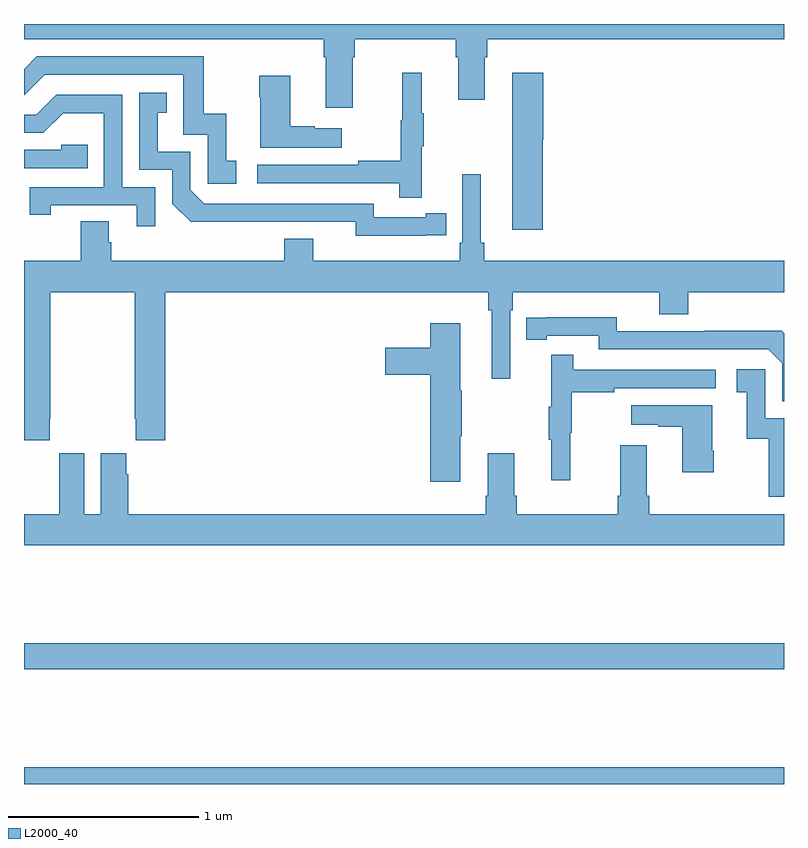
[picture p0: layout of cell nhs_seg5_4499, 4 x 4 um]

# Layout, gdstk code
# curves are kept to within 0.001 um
import gdstk
lib = gdstk.Library(unit=1e-6, precision=1e-09)
def R(c, l, rs):  # rectangles x0, y0, x1, y1
    for r in rs: c.add(gdstk.rectangle(r[:2], r[2:], *l))
def P(c, l, *ps):  # polygons
    for p in ps: c.add(gdstk.Polygon(p, *l))
L2000_40 = (2000, 40)

nhs_seg5_4499 = lib.new_cell('nhs_seg5_4499')
R(nhs_seg5_4499, L2000_40, [(375,892.799,379,892.888), (375,893.404,379,893.54)])
P(nhs_seg5_4499, L2000_40, [(376.729,896.624),(376.742,896.624),(376.742,896.72),(377.273,896.72),(377.273,896.624),(377.285,896.624),(377.285,896.4),(377.425,896.4),(377.425,896.624),(377.438,896.624),(377.438,896.72),(379,896.72),(379,896.799),(375,896.799),(375,896.72),(376.577,896.72),(376.577,896.624),(376.589,896.624),(376.589,896.358),(376.729,896.358)],
  [(376.117,896.079),(376.064,896.079),(376.064,896.326),(375.946,896.326),(375.946,896.628),(375.066,896.628),(375,896.562),(375,896.424),(375.108,896.532),(375.837,896.532),(375.837,896.217),(375.966,896.217),(375.966,895.959),(376.117,895.959)],
  [(377.729,896.19),(377.734,896.19),(377.734,896.542),(377.57,896.542),(377.57,895.716),(377.729,895.716)],
  [(377.093,896.155),(377.104,896.155),(377.104,896.329),(377.093,896.329),(377.093,896.542),(376.99,896.542),(376.99,896.292),(376.983,896.292),(376.983,896.078),(376.759,896.078),(376.759,896.058),(376.227,896.058),(376.227,895.962),(376.975,895.962),(376.975,895.884),(377.093,895.884)],
  [(376.672,896.251),(376.529,896.251),(376.529,896.261),(376.402,896.261),(376.402,896.527),(376.237,896.527),(376.237,896.414),(376.244,896.414),(376.244,896.147),(376.672,896.147)],
  [(377.114,895.686),(377.222,895.686),(377.222,895.802),(377.114,895.802),(377.114,895.782),(376.842,895.782),(376.842,895.854),(375.948,895.854),(375.876,895.926),(375.876,896.127),(375.703,896.127),(375.703,896.331),(375.752,896.331),(375.752,896.437),(375.606,896.437),(375.606,896.031),(375.78,896.031),(375.78,895.854),(375.878,895.757),(376.746,895.758),(376.746,895.685)],
  [(375.69,895.941),(375.516,895.941),(375.516,896.427),(375.17,896.427),(375.065,896.322),(375,896.322),(375,896.226),(375.102,896.226),(375.206,896.33),(375.42,896.33),(375.42,895.941),(375.031,895.941),(375.031,895.794),(375.142,895.794),(375.142,895.845),(375.593,895.845),(375.593,895.734),(375.69,895.734)],
  [(375.335,896.163),(375.195,896.163),(375.195,896.136),(375,896.136),(375,896.04),(375.335,896.04)],
  [(375.135,894.721),(375.138,894.721),(375.138,895.388),(375.583,895.388),(375.583,894.721),(375.589,894.721),(375.589,894.609),(375.743,894.609),(375.743,895.388),(377.443,895.388),(377.443,895.292),(377.462,895.292),(377.462,894.933),(377.559,894.933),(377.559,895.292),(377.573,895.292),(377.573,895.388),(378.344,895.388),(378.344,895.271),(378.497,895.271),(378.497,895.388),(379,895.388),(379,895.552),(377.423,895.552),(377.423,895.648),(377.404,895.648),(377.404,896.008),(377.307,896.008),(377.307,895.648),(377.294,895.648),(377.294,895.552),(376.522,895.552),(376.522,895.669),(376.37,895.669),(376.37,895.552),(375.458,895.552),(375.458,895.65),(375.445,895.65),(375.445,895.76),(375.298,895.76),(375.298,895.552),(375,895.552),(375,894.609),(375.135,894.609)],
  [(379,895.172),(378.988,895.184),(378.58,895.184),(378.58,895.182),(378.12,895.182),(378.12,895.255),(377.644,895.254),(377.644,895.138),(377.752,895.138),(377.752,895.158),(378.024,895.158),(378.024,895.086),(378.918,895.086),(378.99,895.014),(378.99,894.813),(379,894.813)],
  [(377.296,894.628),(377.304,894.628),(377.304,894.869),(377.296,894.869),(377.296,895.225),(377.138,895.225),(377.138,895.095),(376.902,895.095),(376.902,894.953),(377.138,894.953),(377.138,894.39),(377.296,894.39)],
  [(377.876,894.648),(377.884,894.648),(377.884,894.862),(378.107,894.862),(378.107,894.882),(378.64,894.882),(378.64,894.978),(377.891,894.978),(377.891,895.057),(377.774,895.057),(377.774,894.785),(377.763,894.785),(377.763,894.611),(377.774,894.611),(377.774,894.399),(377.876,894.399)],
  [(379,894.723),(378.9,894.723),(378.9,894.982),(378.75,894.982),(378.75,894.861),(378.803,894.861),(378.803,894.615),(378.921,894.615),(378.921,894.312),(379,894.312)],
  [(378.63,894.553),(378.622,894.553),(378.622,894.793),(378.195,894.793),(378.195,894.689),(378.338,894.689),(378.338,894.679),(378.464,894.679),(378.464,894.441),(378.63,894.441)],
  [(379,894.22),(378.29,894.22),(378.29,894.316),(378.277,894.316),(378.277,894.583),(378.137,894.583),(378.137,894.316),(378.125,894.316),(378.125,894.22),(377.594,894.22),(377.594,894.316),(377.581,894.316),(377.581,894.541),(377.441,894.541),(377.441,894.316),(377.429,894.316),(377.429,894.22),(375.548,894.22),(375.548,894.428),(375.538,894.428),(375.538,894.541),(375.404,894.541),(375.404,894.22),(375.316,894.22),(375.316,894.541),(375.186,894.541),(375.186,894.428),(375.185,894.428),(375.185,894.22),(375,894.22),(375,894.056),(379,894.056)])

lib.write_gds('nhs_seg5_4499.gds')
